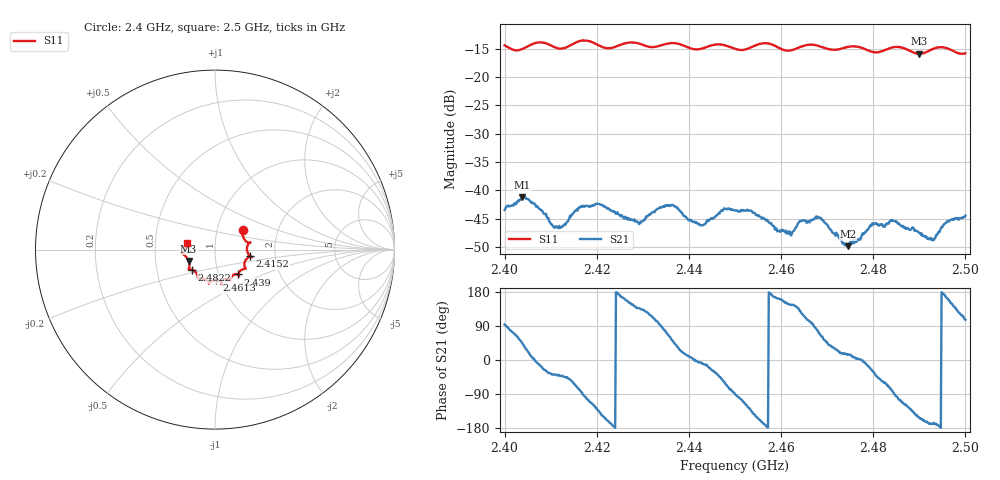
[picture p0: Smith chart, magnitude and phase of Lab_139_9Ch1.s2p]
# Hz S RI R 50
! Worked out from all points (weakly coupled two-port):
!   601 points, 2.4 GHz to 2.5 GHz, reference 50 ohm
!   highest |S21| = -41.24 dB at 2.4038 GHz (marker M1); lowest = -49.9 dB at 2.4745 GHz (marker M2)
!   lowest |S11| = -15.9 dB at 2.49 GHz (marker M3), VSWR 1.38, Z = 36.9 - j4.8 ohm
!   |S11| at or under -10 dB: start of sweep to end of sweep
!   S12 and S22 are empty: the file has one direction only
!   S11 on the Smith chart (normalised r, x): 2.4 GHz: 1.33, +0.30; 2.4152 GHz: 1.48, -0.11; 2.439 GHz: 1.24, -0.35; 2.4613 GHz: 0.96, -0.34; 2.4822 GHz: 0.76, -0.17; 2.5 GHz: 0.73, +0.05
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2.4e9  0.1549 0.1107  -0.00041 0.00669  0 0  0 0
2.403833e9  0.1693 0.0501  0.00615 0.00611  0 0  0 0
2.411167e9  0.1803 0.0192  0.00375 -0.00303  0 0  0 0
2.415167e9  0.1953 -0.0363  0.00284 -0.00584  0 0  0 0
2.416667e9  0.2048 -0.0423  0.000677 -0.00714  0 0  0 0
2.420667e9  0.1825 -0.046  -0.00568 -0.00499  0 0  0 0
2.429e9  0.1675 -0.106  -0.00379 0.00354  0 0  0 0
2.433333e9  0.1318 -0.1327  -0.00107 0.00683  0 0  0 0
2.436667e9  0.1347 -0.1467  0.00497 0.00545  0 0  0 0
2.439e9  0.1276 -0.1382  0.00567 0.0017  0 0  0 0
2.443e9  0.0909 -0.1541  0.00485 -0.000785  0 0  0 0
2.45e9  0.0685 -0.1637  2.13e-05 -0.00662  0 0  0 0
2.461333e9  0.0076 -0.1705  -0.00369 0.00228  0 0  0 0
2.466667e9  -0.0332 -0.19  -0.000554 0.00541  0 0  0 0
2.468667e9  -0.0346 -0.1818  0.00251 0.00512  0 0  0 0
2.4745e9  -0.0896 -0.1611  0.0031 0.000851  0 0  0 0
2.482167e9  -0.1282 -0.1121  0.00257 -0.00403  0 0  0 0
2.483333e9  -0.1394 -0.1104  0.00165 -0.0048  0 0  0 0
2.49e9  -0.147 -0.0634  -0.00373 -0.002  0 0  0 0
2.493e9  -0.1749 -0.0272  -0.00365 -0.000697  0 0  0 0
2.495833e9  -0.1793 -0.0184  -0.005 0.00133  0 0  0 0
2.5e9  -0.158 0.034  -0.00167 0.00574  0 0  0 0
